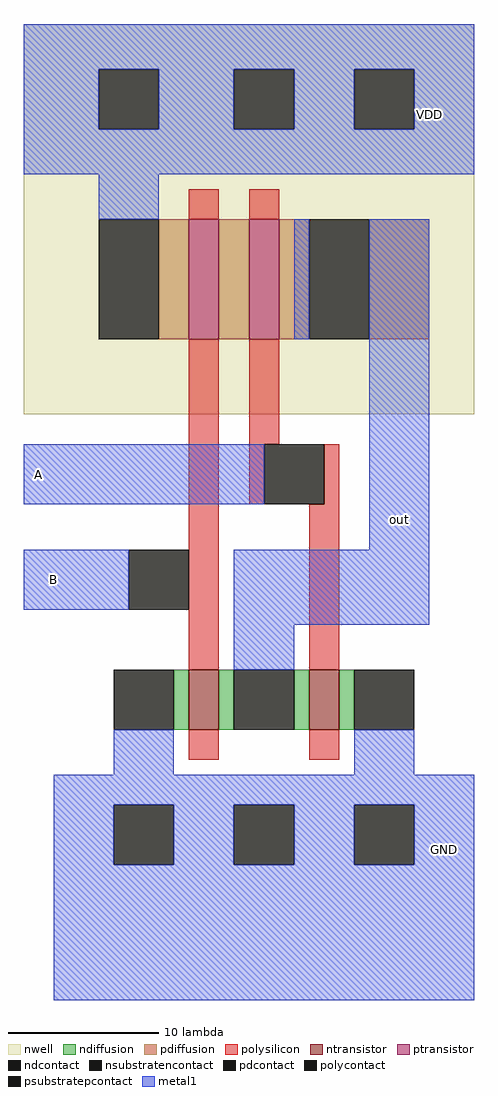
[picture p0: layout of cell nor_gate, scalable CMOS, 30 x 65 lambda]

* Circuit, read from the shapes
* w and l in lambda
.subckt nor_gate A B GND VDD out
M1 out B GND GND nfet w=4 l=2
M2 GND A out GND nfet w=4 l=2
M3 n1 B VDD VDD pfet w=8 l=2
M4 out A n1 VDD pfet w=8 l=2
.ends

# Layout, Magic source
magic
tech scmos
<< nwell >>
rect -14 -17 16 9
<< polysilicon >>
rect -3 -4 -1 -2
rect 1 -4 3 -2
rect -3 -34 -1 -12
rect 1 -19 3 -12
rect 1 -23 2 -19
rect 6 -23 7 -19
rect 5 -34 7 -23
rect -3 -40 -1 -38
rect 5 -40 7 -38
<< ndiffusion >>
rect -4 -38 -3 -34
rect -1 -38 0 -34
rect 4 -38 5 -34
rect 7 -38 8 -34
<< pdiffusion >>
rect -5 -12 -3 -4
rect -1 -12 1 -4
rect 3 -12 5 -4
rect 9 -12 13 -4
<< metal1 >>
rect -14 6 16 9
rect -14 2 -9 6
rect -5 2 0 6
rect 4 2 8 6
rect 12 2 16 6
rect -14 -1 16 2
rect -9 -4 -5 -1
rect 4 -12 5 -4
rect -14 -23 2 -19
rect 9 -26 13 -4
rect -14 -30 -7 -26
rect 0 -31 13 -26
rect 0 -34 4 -31
rect -8 -41 -4 -38
rect 8 -41 12 -38
rect -12 -43 16 -41
rect -12 -47 -8 -43
rect -4 -47 0 -43
rect 4 -47 8 -43
rect 12 -47 16 -43
rect -12 -56 16 -47
<< ntransistor >>
rect -3 -38 -1 -34
rect 5 -38 7 -34
<< ptransistor >>
rect -3 -12 -1 -4
rect 1 -12 3 -4
<< polycontact >>
rect -7 -30 -3 -26
rect 2 -23 6 -19
<< ndcontact >>
rect -8 -38 -4 -34
rect 0 -38 4 -34
rect 8 -38 12 -34
<< pdcontact >>
rect -9 -12 -5 -4
rect 5 -12 9 -4
<< psubstratepcontact >>
rect -8 -47 -4 -43
rect 0 -47 4 -43
rect 8 -47 12 -43
<< nsubstratencontact >>
rect -9 2 -5 6
rect 0 2 4 6
rect 8 2 12 6
<< labels >>
rlabel metal1 13 3 13 3 7 VDD
rlabel metal1 11 -24 11 -24 7 out
rlabel metal1 -13 -21 -13 -21 3 A
rlabel metal1 -12 -28 -12 -28 3 B
rlabel metal1 14 -46 14 -46 7 GND
<< end >>
